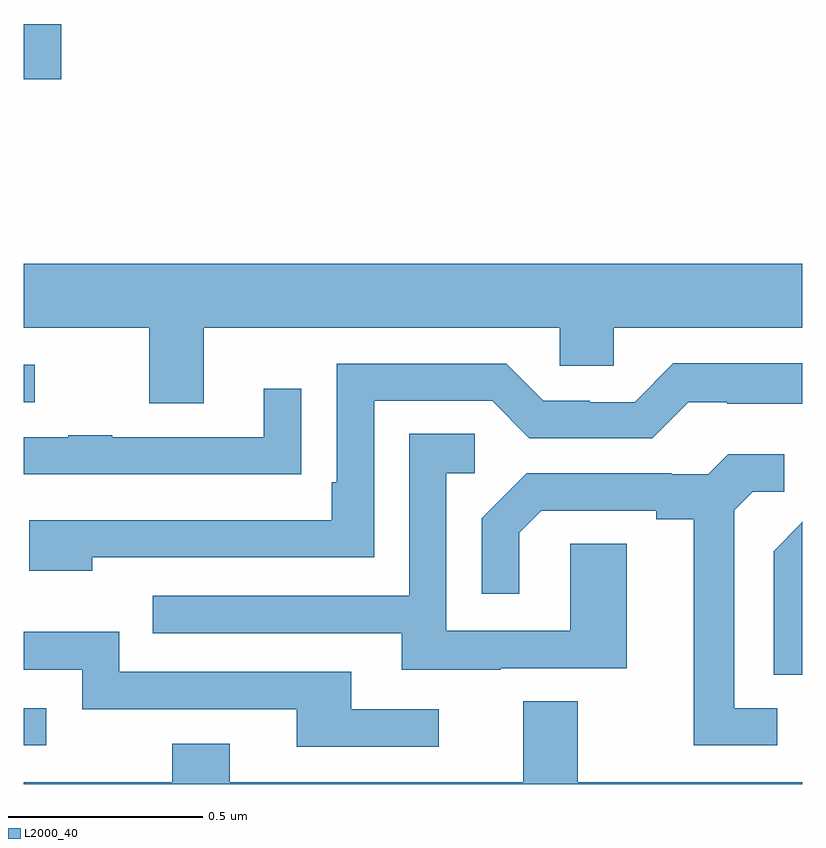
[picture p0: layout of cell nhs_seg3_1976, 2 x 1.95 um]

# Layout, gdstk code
import gdstk
lib = gdstk.Library(unit=1e-6, precision=1e-09)
def R(c, l, rs):  # rectangles x0, y0, x1, y1
    for r in rs: c.add(gdstk.rectangle(r[:2], r[2:], *l))
def P(c, l, *ps):  # polygons
    for p in ps: c.add(gdstk.Polygon(p, *l))
L2000_40 = (2000, 40)

nhs_seg3_1976 = lib.new_cell('nhs_seg3_1976')
R(nhs_seg3_1976, L2000_40, [(135,710.499,135.058,710.595), (135,711.381,135.028,711.477), (135,712.21,135.097,712.352)])
P(nhs_seg3_1976, L2000_40, [(135.463,711.572),(136.377,711.572),(136.377,711.474),(136.515,711.474),(136.515,711.572),(137,711.572),(137,711.736),(135,711.736),(135,711.572),(135.323,711.572),(135.323,711.378),(135.463,711.378)],
  [(135.176,710.982),(135.9,710.982),(135.9,711.384),(136.203,711.384),(136.299,711.288),(136.614,711.288),(136.707,711.381),(136.807,711.381),(136.807,711.377),(137,711.377),(137,711.481),(136.669,711.481),(136.569,711.381),(136.454,711.381),(136.454,711.384),(136.335,711.384),(136.239,711.48),(135.804,711.48),(135.804,711.175),(135.791,711.175),(135.791,711.078),(135.015,711.078),(135.015,710.948),(135.176,710.948)],
  [(135.611,711.196),(135.713,711.196),(135.713,711.415),(135.617,711.415),(135.617,711.291),(135.227,711.291),(135.227,711.296),(135.115,711.296),(135.115,711.291),(135,711.291),(135,711.195),(135.611,711.195)],
  [(136.225,710.697),(136.549,710.697),(136.549,711.017),(136.404,711.017),(136.404,710.793),(136.086,710.793),(136.086,711.198),(136.159,711.198),(136.159,711.299),(135.99,711.299),(135.99,710.883),(135.331,710.883),(135.331,710.787),(135.971,710.787),(135.971,710.693),(136.225,710.693)],
  [(136.936,710.595),(136.825,710.595),(136.825,711.103),(136.872,711.15),(136.954,711.15),(136.954,711.247),(136.81,711.247),(136.758,711.195),(136.664,711.195),(136.664,711.198),(136.292,711.198),(136.176,711.082),(136.176,710.889),(136.273,710.889),(136.273,711.045),(136.33,711.102),(136.625,711.102),(136.625,711.08),(136.721,711.08),(136.721,710.499),(136.936,710.499)],
  [(137,711.074),(136.998,711.072),(136.999,711.071),(136.926,710.998),(136.926,710.68),(137,710.68)],
  [(136.066,710.592),(135.841,710.592),(135.841,710.688),(135.246,710.688),(135.246,710.791),(135,710.791),(135,710.694),(135.15,710.694),(135.15,710.592),(135.701,710.592),(135.701,710.496),(136.066,710.496)],
  [(137,710.404),(136.423,710.404),(136.423,710.612),(136.283,710.612),(136.283,710.404),(135.529,710.404),(135.529,710.503),(135.382,710.503),(135.382,710.404),(135,710.404),(135,710.4),(137,710.4)])

lib.write_gds('nhs_seg3_1976.gds')
